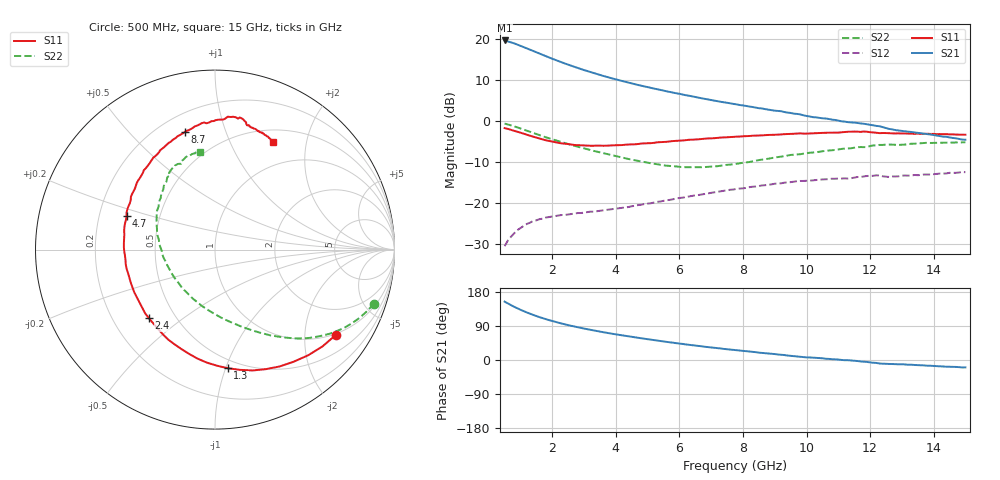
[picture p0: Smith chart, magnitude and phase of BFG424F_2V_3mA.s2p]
! Filename BFG424F_2V_3mA.prm
! Simulation_Values
! Created	by	janssen	on	nov	2006
!	Column ranking S11, S21,S12,S22 both magnitude and phase.
!	VCE	=	2	V,	IC	=	3	mA
!	Common	Emitter	S-Parameters
#	GHZ	S	MA	R	50
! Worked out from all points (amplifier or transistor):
!   146 points, 500 MHz to 15 GHz, reference 50 ohm
!   highest |S21| = 19.7 dB at 500 MHz (marker M1)
!   |S21| within 3 dB of that: start of sweep to 1.539 GHz
!   unconditionally stable (mu >= 1): 3.57 GHz to end of sweep
!   at 2.9 GHz: K = 0.80, MSG = 17.5 dB, |S12| = -22.4 dB
!   at 7.8 GHz: K = 1.36, MAG = 6.7 dB, |S12| = -16.5 dB
!   at 15 GHz: K = 1.73, MAG = -1.0 dB, |S12| = -12.4 dB
!   lowest NFmin = 0.81 dB at 900 MHz
!   S11 on the Smith chart (normalised r, x): 500 MHz: 0.96, -2.85; 1.3 GHz: 0.43, -1.02; 2.4 GHz: 0.36, -0.38; 4.7 GHz: 0.32, +0.16; 8.7 GHz: 0.30, +0.73; 15 GHz: 0.65, +1.47
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0.5  0.824 -35.3  9.637 154.0  0.03 71.2  0.935 -18.8
0.7  0.785 -48.6  9.156 144.8  0.039 64.7  0.89 -25.3
0.8  0.763 -55.0  8.888 140.4  0.043 61.7  0.866 -28.4
1  0.724 -66.9  8.283 132.5  0.05 56.8  0.815 -33.9
1.1  0.705 -72.8  7.998 128.9  0.053 54.6  0.791 -36.4
1.3  0.665 -83.8  7.439 122.1  0.058 50.8  0.742 -41.0
1.5  0.631 -94.2  6.918 115.9  0.062 47.8  0.698 -45.1
1.8  0.585 -108.6  6.192 107.7  0.067 44.5  0.636 -50.5
2.1  0.554 -121.7  5.58 100.5  0.07 42.4  0.585 -55.4
2.4  0.531 -133.9  5.044 94.1  0.072 41.0  0.54 -60.0
2.7  0.513 -145.0  4.593 88.3  0.075 40.4  0.501 -64.6
3  0.506 -155.2  4.199 83.0  0.077 40.5  0.466 -69.1
3.7  0.503 -176.5  3.483 71.9  0.083 41.8  0.399 -80.7
4.2  0.512 170.6  3.086 64.9  0.088 43.4  0.36 -90.0
4.7  0.527 159.3  2.762 58.5  0.095 44.7  0.329 -100.4
5.4  0.556 146.2  2.41 50.0  0.105 45.8  0.294 -117.5
6.5  0.598 129.0  1.972 38.0  0.125 46.0  0.275 -147.9
7.8  0.648 113.5  1.603 26.0  0.15 43.9  0.302 178.6
8.7  0.677 104.4  1.403 18.1  0.166 41.1  0.344 160.1
10.2  0.712 92.1  1.12 6.3  0.19 34.6  0.416 137.1
12.6  0.713 74.4  0.805 -10.5  0.209 24.7  0.52 113.5
15  0.684 61.6  0.595 -19.5  0.239 17.5  0.553 98.8
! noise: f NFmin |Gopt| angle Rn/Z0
0.9  0.81  0.48  17.8  0.27
2  1.2  0.43  57.2  0.25
